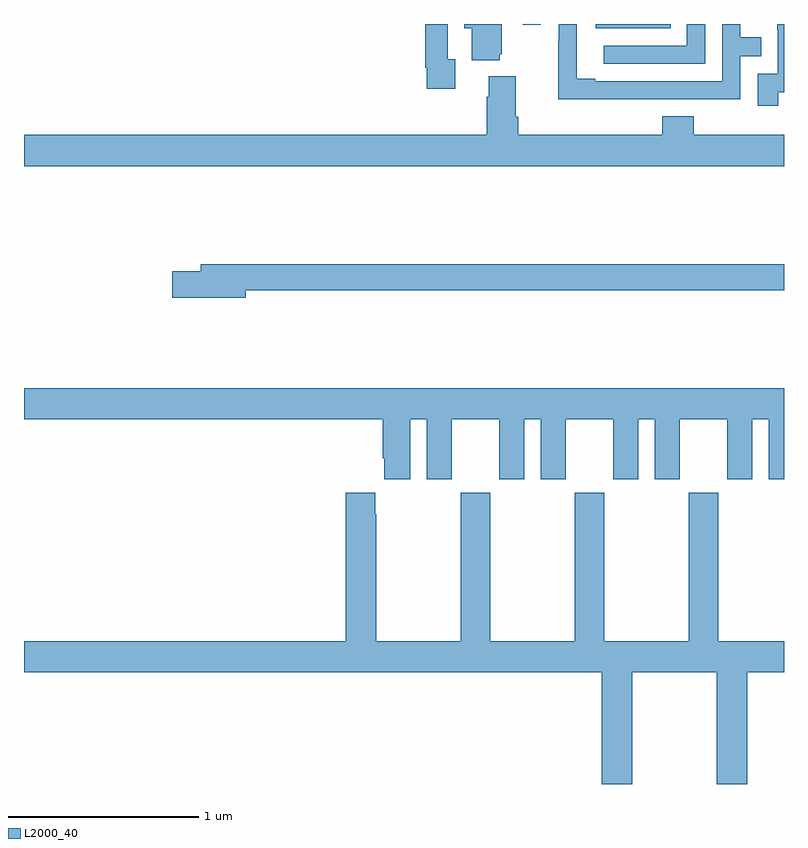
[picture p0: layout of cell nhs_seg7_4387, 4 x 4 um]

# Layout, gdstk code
import gdstk
lib = gdstk.Library(unit=1e-6, precision=1e-09)
def R(c, l, rs):  # rectangles x0, y0, x1, y1
    for r in rs: c.add(gdstk.rectangle(r[:2], r[2:], *l))
def P(c, l, *ps):  # polygons
    for p in ps: c.add(gdstk.Polygon(p, *l))
L2000_40 = (2000, 40)

nhs_seg7_4387 = lib.new_cell('nhs_seg7_4387')
R(nhs_seg7_4387, L2000_40, [(390.008,1031.978,390.404,1032), (389.625,1031.997,389.721,1032)])
P(nhs_seg7_4387, L2000_40, [(390.97,1031.641),(391,1031.641),(391,1032),(390.965,1032),(390.965,1031.969),(390.966,1031.969),(390.966,1031.739),(390.861,1031.739),(390.861,1031.571),(390.97,1031.571)],
  [(389.269,1031.814),(389.229,1031.814),(389.229,1032),(389.113,1032),(389.113,1031.77),(389.121,1031.77),(389.121,1031.658),(389.269,1031.658)],
  [(389.504,1031.841),(389.515,1031.841),(389.515,1032),(389.318,1032),(389.318,1031.978),(389.357,1031.978),(389.357,1031.81),(389.504,1031.81)],
  [(390.585,1032),(390.489,1032),(390.489,1031.886),(390.051,1031.886),(390.051,1031.79),(390.585,1031.79)],
  [(390.275,1031.604),(390.771,1031.604),(390.771,1031.829),(390.881,1031.829),(390.881,1031.93),(390.771,1031.93),(390.771,1032),(390.675,1032),(390.675,1031.7),(390.007,1031.7),(390.007,1031.713),(389.91,1031.713),(389.91,1032),(389.814,1032),(389.814,1031.909),(389.812,1031.909),(389.812,1031.603),(390.275,1031.603)],
  [(391,1031.416),(390.524,1031.416),(390.524,1031.515),(390.359,1031.515),(390.359,1031.416),(389.6,1031.416),(389.6,1031.512),(389.587,1031.512),(389.587,1031.725),(389.447,1031.725),(389.447,1031.618),(389.435,1031.618),(389.435,1031.416),(387,1031.416),(387,1031.252),(391,1031.252)],
  [(388.168,1030.6),(391,1030.6),(391,1030.736),(387.929,1030.736),(387.929,1030.7),(387.78,1030.7),(387.78,1030.558),(388.168,1030.558)],
  [(389.032,1029.92),(389.12,1029.92),(389.12,1029.603),(389.251,1029.603),(389.251,1029.92),(389.501,1029.92),(389.501,1029.603),(389.632,1029.603),(389.632,1029.92),(389.72,1029.92),(389.72,1029.603),(389.851,1029.603),(389.851,1029.92),(390.101,1029.92),(390.101,1029.603),(390.232,1029.603),(390.232,1029.92),(390.32,1029.92),(390.32,1029.603),(390.451,1029.603),(390.451,1029.92),(390.701,1029.92),(390.701,1029.603),(390.832,1029.603),(390.832,1029.92),(390.92,1029.92),(390.92,1029.603),(391,1029.603),(391,1030.084),(387,1030.084),(387,1029.92),(388.889,1029.92),(388.889,1029.715),(388.895,1029.715),(388.895,1029.603),(389.032,1029.603)],
  [(390.201,1028.588),(390.646,1028.588),(390.646,1028),(390.806,1028),(390.806,1028.588),(391,1028.588),(391,1028.752),(390.654,1028.752),(390.654,1029.532),(390.499,1029.532),(390.499,1028.752),(390.054,1028.752),(390.054,1029.532),(389.899,1029.532),(389.899,1028.752),(389.454,1028.752),(389.454,1029.532),(389.299,1029.532),(389.299,1028.752),(388.854,1028.752),(388.854,1029.419),(388.849,1029.419),(388.849,1029.532),(388.694,1029.532),(388.694,1028.752),(387,1028.752),(387,1028.588),(390.041,1028.588),(390.041,1028),(390.201,1028)])

lib.write_gds('nhs_seg7_4387.gds')
